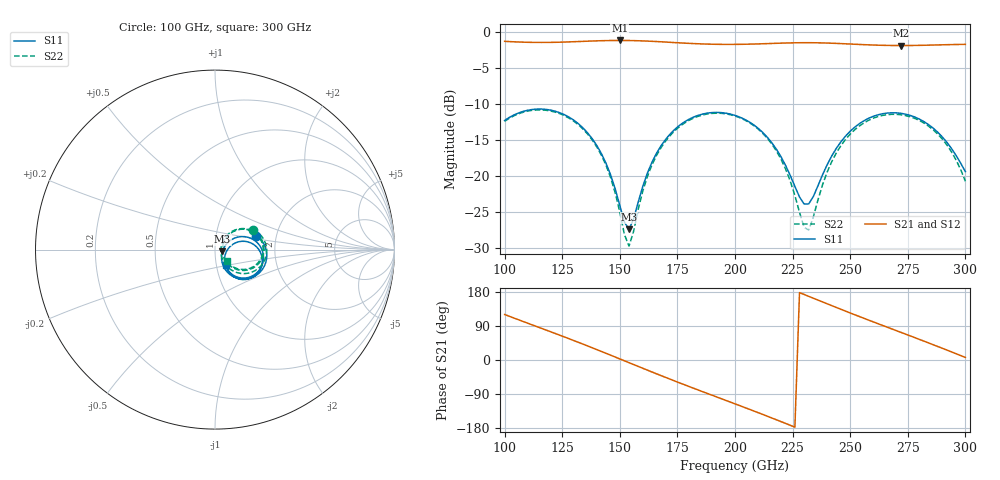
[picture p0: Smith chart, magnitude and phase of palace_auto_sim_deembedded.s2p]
! Created with skrf 1.11.0 (http://scikit-rf.org).
# GHz S DB R 50.0
!freq dBS11 angS11 dBS21 angS21 dBS12 angS12 dBS22 angS22
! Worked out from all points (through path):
!   101 points, 100 GHz to 300 GHz, reference 50 ohm
!   highest |S21| = -1.14 dB at 150 GHz (marker M1); lowest = -1.8 dB at 272 GHz (marker M2)
!   group delay of S21, straight-line fit = 6.59 ps
!   lowest |S11| = -27.4 dB at 154 GHz (marker M3), VSWR 1.09, Z = 54.3 - j1.04 ohm
!   |S11| at or under -10 dB: start of sweep to end of sweep
!   |S22| runs from -29.8 to -10.8 dB; largest |S21 - S12| = 1e-13
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100  -12.28 18.3  -1.26 120.1  -1.26 120.1  -12.40 27.5
118  -10.74 -17.8  -1.42 79.0  -1.42 79.0  -10.86 -7.9
134  -13.31 -49.2  -1.27 41.9  -1.27 41.9  -13.47 -39.1
144  -18.24 -63.0  -1.16 17.7  -1.16 17.7  -18.51 -54.2
150  -24.12 -54.1  -1.14 2.9  -1.14 2.9  -25.04 -48.3
154  -27.41 -13.0  -1.15 -7.1  -1.15 -7.1  -29.78 0.4
162  -19.59 31.1  -1.23 -26.8  -1.23 -26.8  -20.06 50.1
168  -15.76 26.4  -1.33 -41.4  -1.33 -41.4  -16.02 44.1
184  -11.57 -1.4  -1.60 -79.1  -1.60 -79.1  -11.70 15.4
200  -11.57 -30.8  -1.69 -115.7  -1.69 -115.7  -11.66 -14.6
218  -16.30 -57.0  -1.54 -157.8  -1.54 -157.8  -16.54 -44.6
224  -19.95 -55.6  -1.48 -172.3  -1.48 -172.3  -20.74 -47.2
230  -23.92 -27.6  -1.46 172.9  -1.46 172.9  -27.17 -17.0
232  -23.89 -11.3  -1.46 168.0  -1.46 168.0  -27.52 9.5
234  -22.87 2.5  -1.46 163.1  -1.46 163.1  -25.72 30.8
240  -18.45 18.3  -1.50 148.3  -1.50 148.3  -19.47 47.1
248  -14.45 13.1  -1.61 128.9  -1.61 128.9  -14.91 38.9
258  -11.98 -2.7  -1.75 105.3  -1.75 105.3  -12.25 21.2
268  -11.21 -20.5  -1.84 82.2  -1.84 82.2  -11.42 2.2
272  -11.29 -27.5  -1.85 73.0  -1.85 73.0  -11.48 -5.5
288  -13.92 -52.6  -1.76 35.6  -1.76 35.6  -14.18 -34.6
300  -19.40 -53.4  -1.69 6.8  -1.69 6.8  -20.75 -44.8
